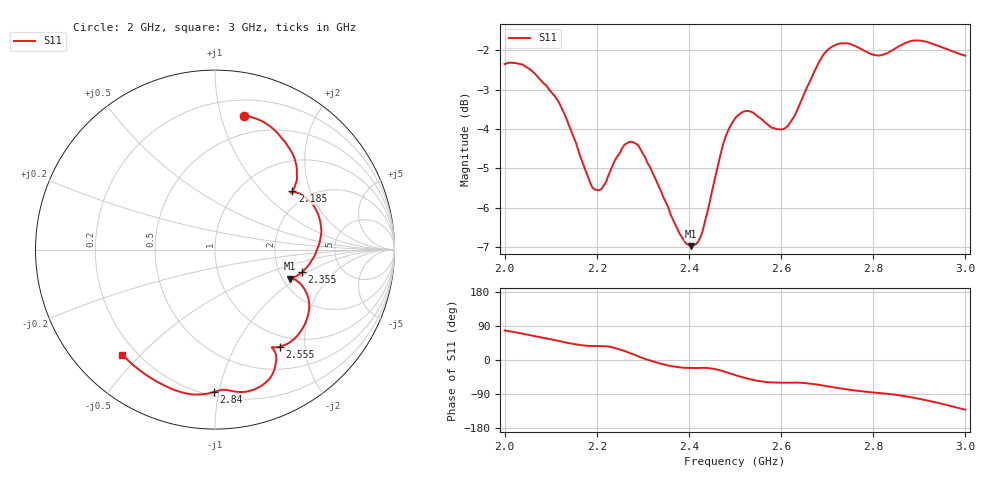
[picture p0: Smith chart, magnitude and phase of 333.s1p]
#  HZ  S  DB  R  50.00
! Rohde & Schwarz ZVB4 2Ports - Version 3.20 - 1145.1010k04 SN: 100175
! Date: 2017-05-11 21:42:19
! Measurement: S11
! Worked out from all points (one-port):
!   201 points, 2 GHz to 3 GHz, reference 50 ohm
!   lowest |S11| = -7.0 dB at 2.405 GHz (marker M1), VSWR 2.62, Z = 109 - j44.2 ohm
!   |S11| at or under -10 dB: nowhere
!   S11 on the Smith chart (normalised r, x): 2 GHz: 0.33, +1.18; 2.185 GHz: 1.65, +1.52; 2.355 GHz: 2.67, -0.90; 2.555 GHz: 0.83, -1.55; 2.84 GHz: 0.23, -0.97; 3 GHz: 0.15, -0.44
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2e9  -2.36 77.9
2.055e9  -2.49 65.5
2.125e9  -3.50 48.1
2.155e9  -4.36 41.0
2.185e9  -5.35 37.1
2.215e9  -5.44 36.6
2.25e9  -4.62 28.0
2.27e9  -4.33 19.4
2.29e9  -4.42 9.6
2.32e9  -5.08 -3.2
2.355e9  -5.99 -14.6
2.375e9  -6.54 -18.8
2.405e9  -6.98 -21.1
2.425e9  -6.75 -20.9
2.445e9  -5.87 -21.6
2.475e9  -4.36 -29.8
2.5e9  -3.73 -39.6
2.53e9  -3.55 -49.9
2.555e9  -3.73 -56.1
2.59e9  -4.01 -59.7
2.625e9  -3.75 -59.7
2.68e9  -2.36 -65.1
2.71e9  -1.92 -71.3
2.75e9  -1.84 -78.8
2.84e9  -2.01 -90.4
2.875e9  -1.80 -96.8
2.935e9  -1.87 -111.5
3e9  -2.14 -131.3
